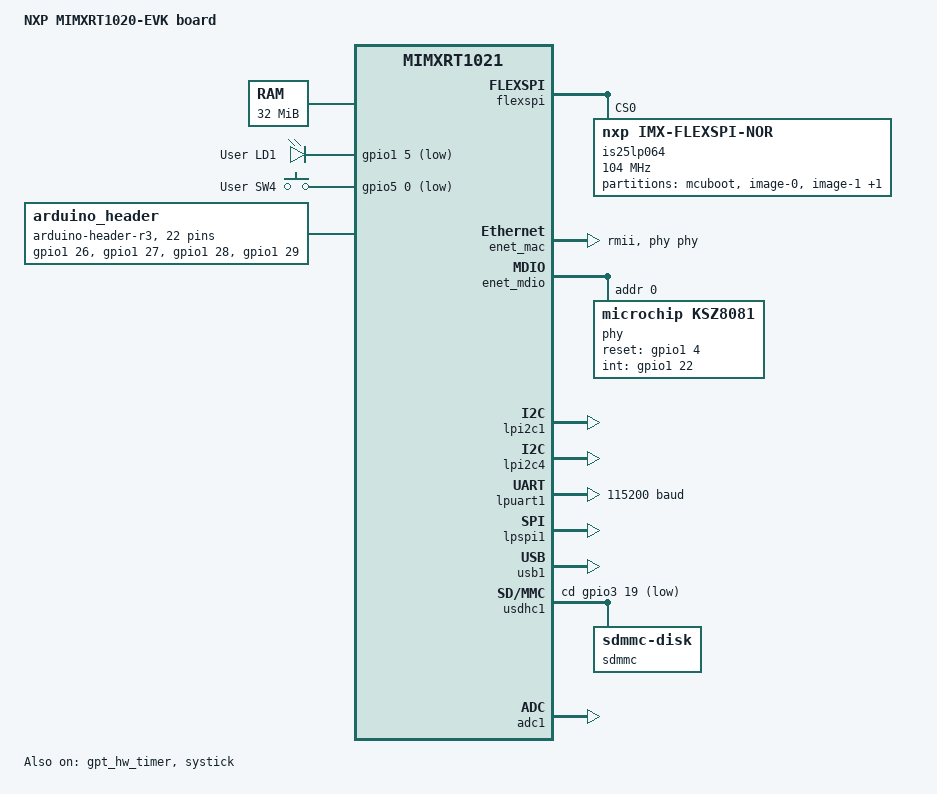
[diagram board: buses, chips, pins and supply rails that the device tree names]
/*
 * Copyright (c) 2018, NXP
 *
 * SPDX-License-Identifier: Apache-2.0
 */

/dts-v1/;

#include <nxp/nxp_rt1020.dtsi>
#include "mimxrt1020_evk-pinctrl.dtsi"
#include <zephyr/dt-bindings/gpio/arduino-header-r3.h>
#include <zephyr/dt-bindings/input/input-event-codes.h>

/ {
	compatible = "nxp,mimxrt1021";
	model = "NXP MIMXRT1020-EVK board";

	aliases {
		led0 = &green_led;
		sw0 = &user_button;
		sdhc0 = &usdhc1;
		mcuboot-button0 = &user_button;
	};

	chosen {
		zephyr,flash-controller = &is25lp064;
		zephyr,flash = &is25lp064;
		zephyr,code-partition = &slot0_partition;
		zephyr,uart-mcumgr = &lpuart1;
		zephyr,sram = &sdram0;
		zephyr,itcm = &itcm;
		zephyr,dtcm = &dtcm;
		zephyr,console = &lpuart1;
		zephyr,shell-uart = &lpuart1;
	};

	sdram0: memory@80000000 {
		reg = <0x80000000 DT_SIZE_M(32)>;
		/* ISSI IS42S16160J-6TLI */
		device_type = "memory";
	};

	leds {
		compatible = "gpio-leds";

		green_led: led-1 {
			gpios = <&gpio1 5 GPIO_ACTIVE_LOW>;
			label = "User LD1";
		};
	};

	gpio_keys {
		compatible = "gpio-keys";

		user_button: button-1 {
			label = "User SW4";
			gpios = <&gpio5 0 (GPIO_PULL_UP | GPIO_ACTIVE_LOW)>;
			zephyr,code = <INPUT_KEY_0>;
		};
	};

	arduino_header: connector {
		compatible = "arduino-header-r3";
		#gpio-cells = <2>;
		gpio-map-mask = <0xffffffff 0xffffffc0>;
		gpio-map-pass-thru = <0 0x3f>;
		gpio-map = <ARDUINO_HEADER_R3_A0 0 &gpio1 26 0>,
			   <ARDUINO_HEADER_R3_A1 0 &gpio1 27 0>,
			   <ARDUINO_HEADER_R3_A2 0 &gpio1 28 0>,
			   <ARDUINO_HEADER_R3_A3 0 &gpio1 29 0>,
			   <ARDUINO_HEADER_R3_A4 0 &gpio1 31 0>,
			   <ARDUINO_HEADER_R3_A5 0 &gpio1 30 0>,
			   <ARDUINO_HEADER_R3_D0 0 &gpio1 25 0>,
			   <ARDUINO_HEADER_R3_D1 0 &gpio1 24 0>,
			   <ARDUINO_HEADER_R3_D2 0 &gpio1 9 0>,
			   <ARDUINO_HEADER_R3_D3 0 &gpio1 7 0>,
			   <ARDUINO_HEADER_R3_D4 0 &gpio1 5 0>,
			   <ARDUINO_HEADER_R3_D5 0 &gpio1 6 0>,
			   <ARDUINO_HEADER_R3_D6 0 &gpio1 14 0>,
			   <ARDUINO_HEADER_R3_D7 0 &gpio1 22 0>,
			   <ARDUINO_HEADER_R3_D8 0 &gpio1 23 0>,
			   <ARDUINO_HEADER_R3_D9 0 &gpio1 15 0>,
			   <ARDUINO_HEADER_R3_D10 0 &gpio1 11 0>,
			   <ARDUINO_HEADER_R3_D11 0 &gpio1 12 0>,
			   <ARDUINO_HEADER_R3_D12 0 &gpio1 13 0>,
			   <ARDUINO_HEADER_R3_D13 0 &gpio1 10 0>,
			   <ARDUINO_HEADER_R3_D14 0 &gpio3 23 0>,
			   <ARDUINO_HEADER_R3_D15 0 &gpio3 22 0>;
	};
};

arduino_serial: &lpuart2 {
	pinctrl-0 = <&pinmux_lpuart2>;
	pinctrl-1 = <&pinmux_lpuart2_sleep>;
	pinctrl-names = "default", "sleep";
};

&flexspi {
	reg = <0x402a8000 0x4000>, <0x60000000 DT_SIZE_M(8)>;
	status = "okay";

	is25lp064: is25lp064@0 {
		compatible = "nxp,imx-flexspi-nor";
		reg = <0>;
		size = <DT_SIZE_M(8*8)>;
		spi-max-frequency = <DT_FREQ_M(104)>;
		jedec-id = [9d 60 17];
		erase-block-size = <DT_SIZE_K(4)>;
		write-block-size = <1>;
		status = "okay";

		partitions {
			compatible = "fixed-partitions";
			#address-cells = <1>;
			#size-cells = <1>;

			/*
			 * Partition sizes must be aligned
			 * to the flash memory sector size of 4KB.
			 */
			boot_partition: partition@0 {
				reg = <0x00000000 DT_SIZE_K(128)>;
				label = "mcuboot";
			};

			slot0_partition: partition@20000 {
				reg = <0x00020000 DT_SIZE_M(3)>;
				label = "image-0";
			};

			slot1_partition: partition@320000 {
				reg = <0x00320000 DT_SIZE_M(3)>;
				label = "image-1";
			};

			storage_partition: partition@620000 {
				reg = <0x00620000 (DT_SIZE_M(2) - DT_SIZE_K(128))>;
				label = "storage";
			};
		};
	};
};

&enet_mac {
	pinctrl-0 = <&pinmux_enet>;
	pinctrl-names = "default";
	phy-handle = <&phy>;
	phy-connection-type = "rmii";
	zephyr,random-mac-address;
	status = "okay";
};

&enet_mdio {
	pinctrl-0 = <&pinmux_enet_mdio>;
	pinctrl-names = "default";
	status = "okay";

	phy: phy@0 {
		compatible = "microchip,ksz8081";
		reg = <0>;
		reset-gpios = <&gpio1 4 GPIO_ACTIVE_HIGH>;
		int-gpios = <&gpio1 22 GPIO_ACTIVE_HIGH>;
		microchip,interface-type = "rmii";
		status = "okay";
	};
};

&enet_ptp_clock {
	pinctrl-0 = <&pinmux_ptp>;
	pinctrl-names = "default";
	status = "okay";
};

&lpi2c1 {
	pinctrl-0 = <&pinmux_lpi2c1>;
	pinctrl-names = "default";
	status = "okay";
};

&lpi2c4 {
	pinctrl-0 = <&pinmux_lpi2c4>;
	pinctrl-names = "default";
	status = "okay";
};

&lpuart1 {
	current-speed = <115200>;
	pinctrl-0 = <&pinmux_lpuart1>;
	pinctrl-1 = <&pinmux_lpuart1_sleep>;
	pinctrl-names = "default", "sleep";
	status = "okay";
};

&lpspi1 {
	/* DMA channels 0 and 1, muxed to LPSPI1 RX and TX */
	dmas = <&edma0 0 13>, <&edma0 1 14>;
	dma-names = "rx", "tx";
	pinctrl-0 = <&pinmux_lpspi1>;
	pinctrl-names = "default";
	status = "okay";
};

zephyr_udc0: &usb1 {
	status = "okay";
};

&usdhc1 {
	no-1-8-v;
	pinctrl-0 = <&pinmux_usdhc1>;
	pinctrl-1 = <&pinmux_usdhc1_slow>;
	pinctrl-2 = <&pinmux_usdhc1_med>;
	pinctrl-3 = <&pinmux_usdhc1_fast>;
	pinctrl-names = "default", "slow", "med", "fast";
	cd-gpios = <&gpio3 19 GPIO_ACTIVE_LOW>;
	pwr-gpios = <&gpio3 24 GPIO_ACTIVE_HIGH>;
	status = "okay";

	sdmmc {
		compatible = "zephyr,sdmmc-disk";
		disk-name = "SD";
		status = "okay";
	};
};

&adc1 {
	pinctrl-0 = <&pinmux_adc1>;
	pinctrl-names = "default";
	status = "okay";
};

&sai3 {
	pinctrl-0 = <&pinmux_sai3>;
	pinctrl-names = "default";
};

&edma0 {
	status = "okay";
};

/* GPT and Systick are enabled. If power management is enabled, the GPT
 * timer will be used instead of systick, as allows the core clock to
 * be gated.
 */
&gpt_hw_timer {
	status = "okay";
};

&systick {
	status = "okay";
};
